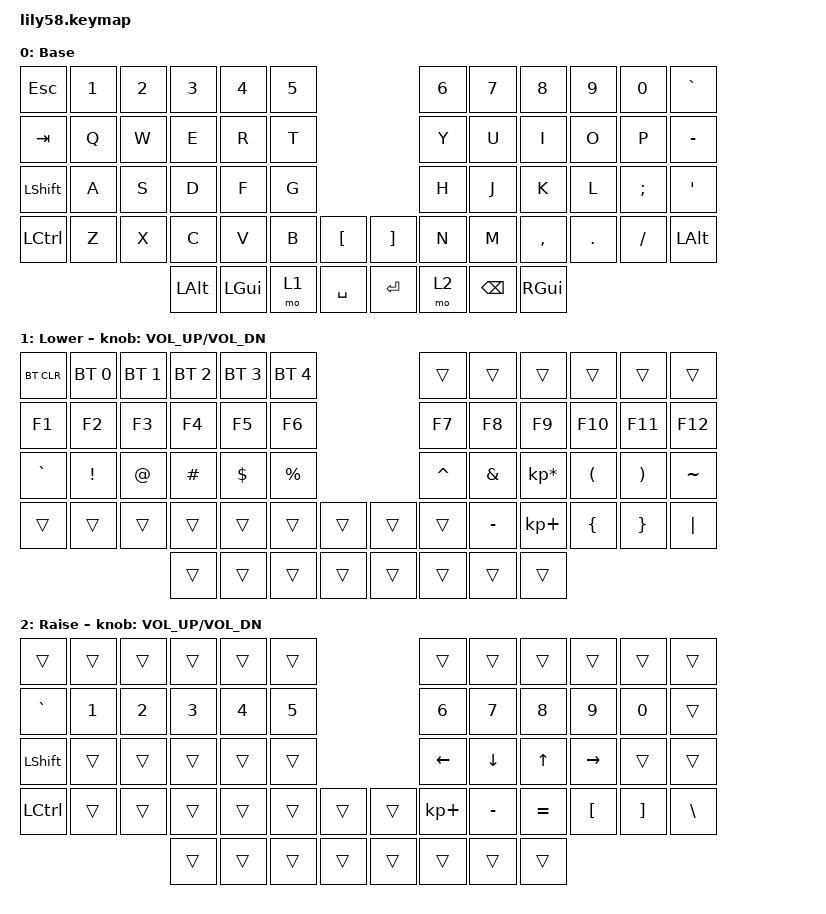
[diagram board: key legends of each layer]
/*
 * Copyright (c) 2020 The ZMK Contributors
 *
 * SPDX-License-Identifier: MIT
 */

#include <behaviors.dtsi>
#include <dt-bindings/zmk/bt.h>
#include <dt-bindings/zmk/keys.h>

/ {
    combos {
        compatible = "zmk,combos";

        right_parentheses {
            bindings = <&kp RIGHT_PARENTHESIS>;
            key-positions = <33 34>;
        };

        left_parentheses {
            bindings = <&kp LEFT_PARENTHESIS>;
            key-positions = <31 32>;
        };

        left_brace {
            bindings = <&kp LEFT_BRACE>;
            key-positions = <45 46>;
        };

        right_brace {
            bindings = <&kp RIGHT_BRACE>;
            key-positions = <47 48>;
        };

        left_bracket {
            bindings = <&kp LEFT_BRACKET>;
            key-positions = <19 20>;
        };

        right_bracket {
            bindings = <&kp RIGHT_BRACKET>;
            key-positions = <21 22>;
        };
    };

    keymap {
        compatible = "zmk,keymap";

        default_layer {
            // ------------------------------------------------------------------------------------------------------------
            // |  ESC  |  1  |  2  |  3   |  4   |  5   |                   |  6   |  7    |  8    |  9   |   0   |   `   |
            // |  TAB  |  Q  |  W  |  E   |  R   |  T   |                   |  Y   |  U    |  I    |  O   |   P   |   -   |
            // |  CTRL |  A  |  S  |  D   |  F   |  G   |                   |  H   |  J    |  K    |  L   |   ;   |   '   |
            // | SHIFT |  Z  |  X  |  C   |  V   |  B   |   "["  |  |  "]"  |  N   |  M    |  ,    |  .   |   /   | SHIFT |
            //                     | ALT  | GUI  | LOWER|  SPACE |  | ENTER | RAISE| BSPC  | GUI   |

            display-name = "Base";
            bindings = <
&kp ESC           &kp N1  &kp N2  &kp N3    &kp N4    &kp N5                         &kp N6  &kp N7    &kp N8     &kp N9   &kp N0    &kp GRAVE
&kp TAB           &kp Q   &kp W   &kp E     &kp R     &kp T                          &kp Y   &kp U     &kp I      &kp O    &kp P     &kp MINUS
&kp LEFT_SHIFT    &kp A   &kp S   &kp D     &kp F     &kp G                          &kp H   &kp J     &kp K      &kp L    &kp SEMI  &kp SQT
&kp LEFT_CONTROL  &kp Z   &kp X   &kp C     &kp V     &kp B   &kp LBKT     &kp RBKT  &kp N   &kp M     &kp COMMA  &kp DOT  &kp FSLH  &kp LEFT_ALT
                                  &kp LALT  &kp LGUI  &mo 1   &kp SPACE    &kp RET   &mo 2   &kp BSPC  &kp RGUI
            >;
        };

        lower_layer {
            // ------------------------------------------------------------------------------------------------------------
            // | BTCLR | BT1 | BT2 |  BT3 |  BT4 |  BT5 |                   |      |       |       |      |       |       |
            // |  F1   |  F2 |  F3 |  F4  |  F5  |  F6  |                   |  F7  |  F8   |  F9   |  F10 |  F11  |  F12  |
            // |   `   |  !  |  @  |  #   |  $   |  %   |                   |  ^   |  &    |  *    |  (   |   )   |   ~   |
            // |       |     |     |      |      |      |        |  |       |      |  _    |  +    |  {   |   }   |  "|"  |
            //                     |      |      |      |        |  |       |      |       |       |

            display-name = "Lower";
            bindings = <
&bt BT_CLR  &bt BT_SEL 0  &bt BT_SEL 1  &bt BT_SEL 2  &bt BT_SEL 3  &bt BT_SEL 4                    &trans     &trans     &trans           &trans    &trans    &trans
&kp F1      &kp F2        &kp F3        &kp F4        &kp F5        &kp F6                          &kp F7     &kp F8     &kp F9           &kp F10   &kp F11   &kp F12
&kp GRAVE   &kp EXCL      &kp AT        &kp HASH      &kp DOLLAR    &kp PRCNT                       &kp CARET  &kp AMPS   &kp KP_MULTIPLY  &kp LPAR  &kp RPAR  &kp TILDE
&trans      &trans        &trans        &trans        &trans        &trans        &trans    &trans  &trans     &kp MINUS  &kp KP_PLUS      &kp LBRC  &kp RBRC  &kp PIPE
                                        &trans        &trans        &trans        &trans    &trans  &trans     &trans     &trans
            >;

            sensor-bindings = <&inc_dec_kp C_VOL_UP C_VOL_DN>;
        };

        raise_layer {
            // ------------------------------------------------------------------------------------------------------------
            // |       |     |     |      |      |      |                   |      |       |       |      |       |       |
            // |   `   |  1  |  2  |  3   |  4   |  5   |                   |  6   |   7   |   8   |  9   |   0   |       |
            // |   F1  |  F2 |  F3 |  F4  |  F5  |  F6  |                   |      |   <-  |   v   |  ^   |  ->   |       |
            // |   F7  |  F8 |  F9 |  F10 |  F11 |  F12 |        |  |       |  +   |   -   |   =   |  [   |   ]   |   \   |
            //                     |      |      |      |        |  |       |      |       |       |

            display-name = "Raise";
            bindings = <
&trans            &trans  &trans  &trans  &trans  &trans                    &trans       &trans     &trans     &trans     &trans    &trans
&kp GRAVE         &kp N1  &kp N2  &kp N3  &kp N4  &kp N5                    &kp N6       &kp N7     &kp N8     &kp N9     &kp N0    &trans
&kp LEFT_SHIFT    &trans  &trans  &trans  &trans  &trans                    &kp LEFT     &kp DOWN   &kp UP     &kp RIGHT  &trans    &trans
&kp LEFT_CONTROL  &trans  &trans  &trans  &trans  &trans  &trans    &trans  &kp KP_PLUS  &kp MINUS  &kp EQUAL  &kp LBKT   &kp RBKT  &kp BSLH
                                  &trans  &trans  &trans  &trans    &trans  &trans       &trans     &trans
            >;

            sensor-bindings = <&inc_dec_kp C_VOL_UP C_VOL_DN>;
        };
    };
};
